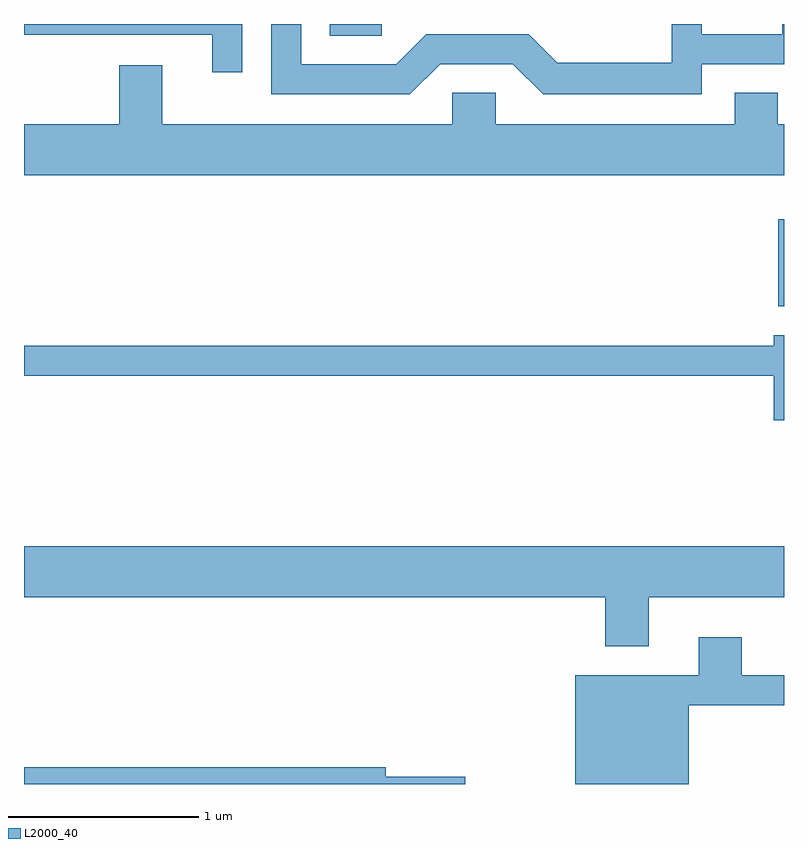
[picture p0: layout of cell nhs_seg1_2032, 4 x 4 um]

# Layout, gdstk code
import gdstk
lib = gdstk.Library(unit=1e-6, precision=1e-09)
def R(c, l, rs):  # rectangles x0, y0, x1, y1
    for r in rs: c.add(gdstk.rectangle(r[:2], r[2:], *l))
def P(c, l, *ps):  # polygons
    for p in ps: c.add(gdstk.Polygon(p, *l))
L2000_40 = (2000, 40)

nhs_seg1_2032 = lib.new_cell('nhs_seg1_2032')
R(nhs_seg1_2032, L2000_40, [(251.581,892.226,251.611,892.684), (249.221,893.651,249.493,893.712)])
P(nhs_seg1_2032, L2000_40, [(248.759,893.712),(247.611,893.712),(247.611,893.656),(248.601,893.656),(248.601,893.458),(248.759,893.458)],
  [(249.802,893.501),(250.184,893.501),(250.344,893.341),(251.179,893.341),(251.179,893.501),(251.611,893.501),(251.611,893.712),(251.601,893.712),(251.601,893.659),(251.179,893.659),(251.179,893.712),(251.021,893.712),(251.021,893.509),(250.417,893.509),(250.267,893.659),(249.729,893.659),(249.569,893.499),(249.069,893.499),(249.069,893.712),(248.911,893.712),(248.911,893.341),(249.642,893.341)],
  [(251.611,893.184),(251.579,893.184),(251.579,893.349),(251.351,893.349),(251.351,893.184),(250.094,893.184),(250.094,893.349),(249.866,893.349),(249.866,893.184),(248.339,893.184),(248.339,893.494),(248.111,893.494),(248.111,893.184),(247.611,893.184),(247.611,892.916),(251.611,892.916)],
  [(251.611,892.074),(251.556,892.074),(251.556,892.019),(247.611,892.019),(247.611,891.861),(251.556,891.861),(251.556,891.626),(251.611,891.626)],
  [(250.899,890.696),(251.611,890.696),(251.611,890.964),(247.611,890.964),(247.611,890.696),(250.671,890.696),(250.671,890.436),(250.899,890.436)],
  [(251.109,890.126),(251.611,890.126),(251.611,890.284),(251.389,890.284),(251.389,890.484),(251.161,890.484),(251.161,890.284),(250.511,890.284),(250.511,889.712),(251.109,889.712)],
  [(249.934,889.749),(249.514,889.749),(249.514,889.799),(247.611,889.799),(247.611,889.712),(249.934,889.712)])

lib.write_gds('nhs_seg1_2032.gds')
